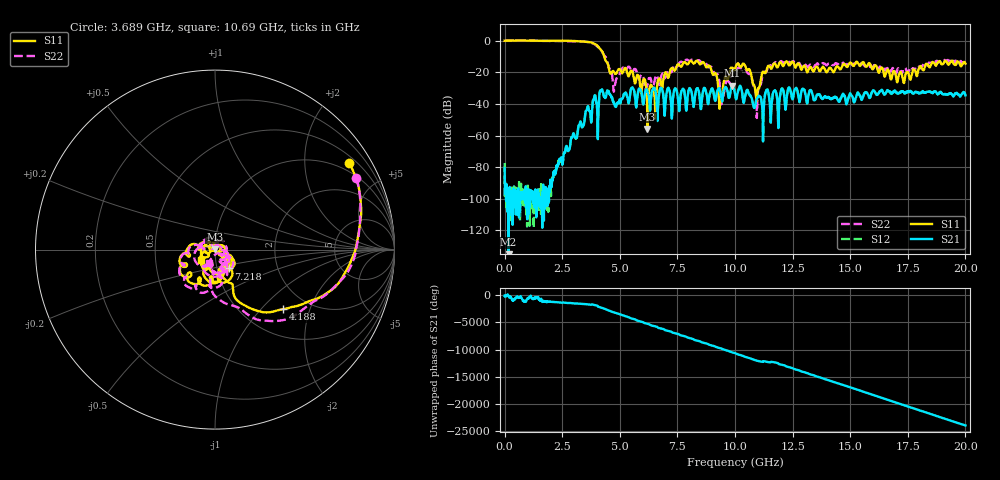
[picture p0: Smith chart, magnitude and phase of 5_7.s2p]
#  HZ  S  RI  R  50.00
! Rohde & Schwarz Vector Network Analyzer
! Rohde-Schwarz,ZNB20-2Port,1311601062102128,3.60
! Created: UTC 4/29/2024, 2:53:46 PM
! freq[Hz]  re:S11  im:S11  re:S21  im:S21  re:S12  im:S12  re:S22  im:S22
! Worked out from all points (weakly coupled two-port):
!   2007 points, 100 kHz to 20 GHz, reference 50 ohm
!   highest |S21| = -28.53 dB at 9.89 GHz (marker M1); lowest = -137.6 dB at 169.6 MHz (marker M2)
!   lowest |S11| = -55.9 dB at 6.201 GHz (marker M3), VSWR 1.00, Z = 49.9 + j0.125 ohm
!   |S11| at or under -10 dB: 4.324 GHz to end of sweep
!   |S22| runs from -48.9 to 0.1 dB; largest |S21 - S12| = 0.0021
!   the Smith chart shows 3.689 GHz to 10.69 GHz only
!   S11 on the Smith chart (normalised r, x): 3.689 GHz: 0.70, +3.27; 4.188 GHz: 1.50, -1.33; 7.218 GHz: 1.14, -0.24; 10.69 GHz: 0.85, -0.10
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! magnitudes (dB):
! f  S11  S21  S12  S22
! 100 kHz  0.0  -80.4  -77.3  0.1
! 169.6 MHz  0.0  -137.6  -99.1  0.0
! 2.213 GHz  -0.1  -83.8  -84.0  -0.3
! 3.34 GHz  -0.6  -54.0  -53.7  -0.6
! 3.689 GHz  -1.0  -44.9  -44.8  -1.1
! 4.188 GHz  -6.0  -31.9  -32.0  -6.0
! 4.766 GHz  -20.3  -40.3  -40.2  -29.6
! 5.374 GHz  -22.6  -39.5  -39.5  -16.4
! 6.201 GHz  -55.9  -32.3  -32.4  -27.7
! 6.67 GHz  -24.7  -39.0  -39.1  -25.5
! 7.218 GHz  -17.7  -38.1  -38.2  -20.2
! 8.624 GHz  -13.7  -31.3  -31.3  -14.2
! 9.153 GHz  -20.6  -38.0  -38.0  -21.9
! 9.382 GHz  -36.1  -34.3  -34.3  -34.9
! 9.89 GHz  -17.2  -28.5  -28.5  -19.5
! 10 GHz  -18.1  -33.6  -33.5  -20.2
! 10.69 GHz  -20.4  -35.4  -35.5  -21.6
! 10.93 GHz  -37.5  -37.5  -37.6  -37.7
! 11.71 GHz  -14.6  -31.8  -31.8  -14.1
! 13.34 GHz  -18.0  -32.7  -32.8  -15.3
! 16.67 GHz  -19.1  -31.8  -31.9  -20.5
! 20 GHz  -14.6  -34.6  -34.6  -14.3
